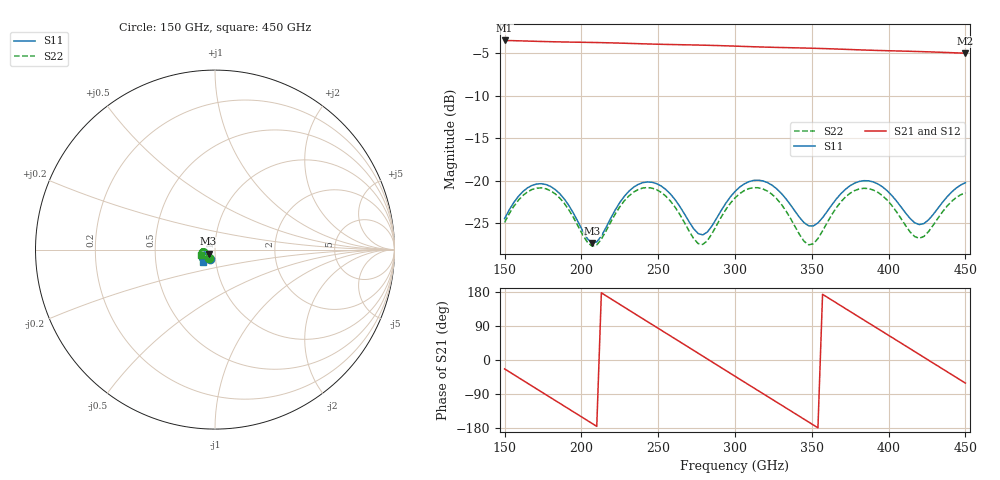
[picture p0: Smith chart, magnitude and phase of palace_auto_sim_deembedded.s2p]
! Created with skrf 1.11.0 (http://scikit-rf.org).
# GHz S DB R 50.0
!freq dBS11 angS11 dBS21 angS21 dBS12 angS12 dBS22 angS22
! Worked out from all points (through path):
!   101 points, 150 GHz to 450 GHz, reference 50 ohm
!   highest |S21| = -3.48 dB at 150 GHz (marker M1); lowest = -5.0 dB at 450 GHz (marker M2)
!   group delay of S21, straight-line fit = 7.01 ps
!   lowest |S11| = -27.4 dB at 207 GHz (marker M3), VSWR 1.09, Z = 46.5 - j2.14 ohm
!   |S11| at or under -10 dB: start of sweep to end of sweep
!   |S22| runs from -27.7 to -20.8 dB; largest |S21 - S12| = 7.5e-14
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150  -24.48 -119.5  -3.48 -23.5  -3.48 -23.5  -24.94 -125.9
174  -20.37 -145.1  -3.60 -84.2  -3.60 -84.2  -20.87 -153.6
186  -21.56 -161.4  -3.65 -114.5  -3.65 -114.5  -22.08 -170.6
201  -25.98 -162.7  -3.70 -152.4  -3.70 -152.4  -26.45 -172.5
207  -27.36 -147.5  -3.71 -167.6  -3.71 -167.6  -27.74 -158.0
219  -24.48 -122.2  -3.76 162.0  -3.76 162.0  -24.92 -134.8
234  -20.78 -131.9  -3.84 124.0  -3.84 124.0  -21.37 -145.8
252  -20.65 -155.7  -3.93 78.6  -3.93 78.6  -21.40 -171.1
276  -26.25 -151.4  -4.02 17.9  -4.02 17.9  -27.43 -166.4
288  -24.46 -125.8  -4.08 -12.5  -4.08 -12.5  -25.29 -140.5
300  -21.29 -127.9  -4.15 -42.9  -4.15 -42.9  -22.04 -144.8
312  -19.99 -141.4  -4.22 -73.1  -4.22 -73.1  -20.84 -160.3
324  -20.53 -155.6  -4.28 -103.3  -4.28 -103.3  -21.61 -176.4
339  -23.60 -161.6  -4.35 -141.1  -4.35 -141.1  -25.40 176.7
351  -25.35 -141.8  -4.40 -171.5  -4.40 -171.5  -27.46 -156.9
363  -22.88 -127.3  -4.47 158.2  -4.47 158.2  -24.03 -141.8
378  -20.29 -136.5  -4.57 120.4  -4.57 120.4  -21.18 -155.0
390  -20.16 -149.8  -4.64 90.2  -4.64 90.2  -21.11 -170.7
402  -21.74 -159.6  -4.70 60.0  -4.70 60.0  -22.91 177.5
417  -24.98 -149.8  -4.77 22.2  -4.77 22.2  -26.61 -172.1
426  -24.64 -132.1  -4.82 -0.5  -4.82 -0.5  -26.03 -152.9
450  -20.25 -133.6  -4.98 -60.9  -4.98 -60.9  -21.45 -160.2
